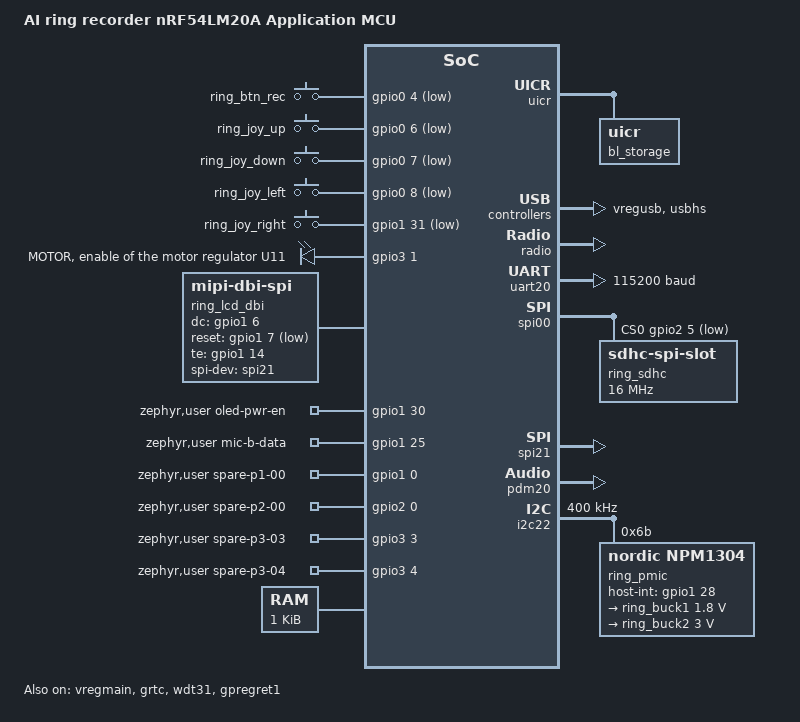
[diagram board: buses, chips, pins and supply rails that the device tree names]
/*
 * The ring (software step 7): board description of the AI ring recorder, application core (cpuapp) of its nRF54LM20A.
 *
 * Source of every pin: design/ecad/ring/netlist.csv (rows of U1, the main chip), which already holds the pin changes
 * of design/ecad/ring-route-f/pin-changes.md (LCD_TE on P1.14 ball F4, OLED_PWR_EN on P1.30 ball F9; balls F8, D6,
 * E9 with no net). Peripheral instances: design/firmware.md, peripheral table (lines 72 to 89). Power chip settings:
 * design/firmware.md 8.1. Memory layout: design/firmware.md 9.2. tools/check_ring_pins.py compares the built
 * devicetree (zephyr.dts) with the netlist; firmware/docs/board-notes.md lists every U1 signal and its node.
 *
 * NOT PROVEN ON HARDWARE: it compiles (tools/build_all.sh, stage ring); no ring has run it.
 */

/dts-v1/;

#include <nordic/nrf54lm20a_cpuapp.dtsi>
#include <zephyr/dt-bindings/input/input-event-codes.h>
#include <zephyr/dt-bindings/regulator/npm13xx.h>
#include <zephyr/dt-bindings/i2c/i2c.h>
#include "ringrec_nrf54lm20a_cpuapp-pinctrl.dtsi"

/ {
	compatible = "ring,ringrec-nrf54lm20a-cpuapp";
	model = "AI ring recorder nRF54LM20A Application MCU";

	chosen {
		zephyr,console = &uart20;
		zephyr,shell-uart = &uart20;
		zephyr,flash-controller = &rram_controller;
		zephyr,flash = &cpuapp_rram;
		zephyr,code-partition = &slot0_partition;
		zephyr,sram = &cpuapp_sram;
	};

	aliases {
		/* names the real driver files look for (firmware/docs/recorder-notes.md section 6) */
		ring-motor = &ring_motor;            /* modules/ring_motor/src/rmo_hw_real.c */
		ring-vdd-mic = &ring_ldsw_mic;       /* modules/ring_power/src/rpw_hw_real.c, load switch 1 */
		ring-vdd-sd = &ring_ldsw_sd;         /* modules/ring_power/src/rpw_hw_real.c, load switch 2 */
		crashram = &ring_crashram;           /* modules/ring_sys/src/rsy_hw_real.c, crash record */
		gpregret1 = &gpregret1;              /* modules/ring_sys/src/rsy_hw_real.c */
		watchdog0 = &wdt31;
	};

	/* The joystick (design/firmware.md 2.2): five switches to ground, the chip's pull-up, 20 ms debounce (FW l.237).
	 * No joystick driver exists yet (app/src/main.c: "the driver calls rglue_input()"), so these nodes are read by
	 * nothing; they hold the pins. */
	ring_joystick: joystick {
		compatible = "gpio-keys";
		debounce-interval-ms = <20>;

		ring_btn_rec: btn_rec {
			gpios = <&gpio0 4 (GPIO_PULL_UP | GPIO_ACTIVE_LOW)>;      /* BTN_REC, SW2 centre */
			zephyr,code = <INPUT_KEY_ENTER>;
		};

		ring_joy_up: joy_up {
			gpios = <&gpio0 6 (GPIO_PULL_UP | GPIO_ACTIVE_LOW)>;      /* JOY_UP, SW1 */
			zephyr,code = <INPUT_KEY_UP>;
		};

		ring_joy_down: joy_down {
			gpios = <&gpio0 7 (GPIO_PULL_UP | GPIO_ACTIVE_LOW)>;      /* JOY_DOWN, SW3 */
			zephyr,code = <INPUT_KEY_DOWN>;
		};

		ring_joy_left: joy_left {
			gpios = <&gpio0 8 (GPIO_PULL_UP | GPIO_ACTIVE_LOW)>;      /* JOY_LEFT, SW4 toward the hand */
			zephyr,code = <INPUT_KEY_LEFT>;
		};

		ring_joy_right: joy_right {
			gpios = <&gpio1 31 (GPIO_PULL_UP | GPIO_ACTIVE_LOW)>;     /* JOY_RIGHT, SW5 toward the fingertip */
			zephyr,code = <INPUT_KEY_RIGHT>;
		};
	};

	/* MOTOR: high enables the motor regulator U11 through R61 (net MOT_EN); a plain level, no PWM (FW 3.1) */
	ring_outputs: outputs {
		compatible = "gpio-leds";

		ring_motor: motor {
			gpios = <&gpio3 1 GPIO_ACTIVE_HIGH>;                       /* MOTOR */
			label = "MOTOR, enable of the motor regulator U11";
		};
	};

	/* The screen's bus and control pins (design/firmware.md 3.3, peripheral table). No panel driver exists: the
	 * application's overlay keeps the memory display as the screen's stand-in (zephyr,display). A panel driver adds
	 * its node as a child of this MIPI DBI node. */
	ring_lcd_dbi: lcd-dbi {
		compatible = "zephyr,mipi-dbi-spi";
		spi-dev = <&spi21>;
		dc-gpios = <&gpio1 6 GPIO_ACTIVE_HIGH>;                         /* LCD_DCX (RS: high = data) */
		reset-gpios = <&gpio1 7 GPIO_ACTIVE_LOW>;                       /* LCD_RST (RESX) */
		te-gpios = <&gpio1 14 GPIO_ACTIVE_HIGH>;                        /* LCD_TE (input, rising edge) */
		write-only;
		#address-cells = <1>;
		#size-cells = <0>;
	};

	/* Pins with no driver: the screen supply enable, and the pins the firmware never configures (test pads).
	 * They are listed so the devicetree holds every signal of U1 (tools/check_ring_pins.py). */
	zephyr,user {
		oled-pwr-en-gpios = <&gpio1 30 GPIO_ACTIVE_HIGH>;              /* OLED_PWR_EN: U4 AVDDEN (screen supply) */
		mic-b-data-gpios = <&gpio1 25 0>;                              /* MIC_B_DATA: test pad, unused (FW l.77) */
		spare-p1-00-gpios = <&gpio1 0 0>;                              /* SPARE_P1_00: test pad TP6 */
		spare-p2-00-gpios = <&gpio2 0 0>;                              /* SPARE_P2_00: test pad TP12 */
		spare-p3-03-gpios = <&gpio3 3 0>;                              /* SPARE_P3_03: test pad TP14 */
		spare-p3-04-gpios = <&gpio3 4 0>;                              /* SPARE_P3_04: test pad TP15 */
	};

	/* Crash record (design/firmware.md 4.6 "Crash record, retained RAM" 1,024 bytes; firmware/docs/sys-notes.md
	 * section 6): the top 1 KB of the application's RAM, taken out of cpuapp_sram below, kept over a warm reset. */
	ring_retained: memory@2007f800 {
		compatible = "zephyr,memory-region", "mmio-sram";
		reg = <0x2007f800 0x400>;
		ranges = <0x0 0x2007f800 0x400>;
		zephyr,memory-region = "RetainedMem";
		status = "okay";
		#address-cells = <1>;
		#size-cells = <1>;

		ring_crashram: retainedmem {
			compatible = "zephyr,retained-ram";
			status = "okay";
			ranges;
			#address-cells = <1>;
			#size-cells = <1>;
		};
	};
};

/* 511 KB of the secure build (the kit's cpuapp_sram) less the 1 KB crash record above */
&cpuapp_sram {
	reg = <0x20000000 DT_SIZE_K(510)>;
	ranges = <0x0 0x20000000 DT_SIZE_K(510)>;
	status = "okay";
};

/* The memory layout of design/firmware.md 9.2 (RRAM 2,036 KB): MCUboot 64 KB, slot 0 976 KB, slot 1 976 KB,
 * settings 20 KB. modules/ring_rhw/include/ring_rhw/rrec_spec.h holds the same addresses (RREC_FLASH_*). */
&cpuapp_rram {
	partitions {
		ranges;
		#address-cells = <1>;
		#size-cells = <1>;

		boot_partition: partition@0 {
			compatible = "zephyr,mapped-partition";
			label = "mcuboot";
			reg = <0x0 DT_SIZE_K(64)>;
		};

		slot0_partition: partition@10000 {
			compatible = "zephyr,mapped-partition";
			label = "image-0";
			reg = <0x10000 DT_SIZE_K(976)>;
		};

		slot1_partition: partition@104000 {
			compatible = "zephyr,mapped-partition";
			label = "image-1";
			reg = <0x104000 DT_SIZE_K(976)>;
		};

		storage_partition: partition@1f8000 {
			compatible = "zephyr,mapped-partition";
			label = "storage";
			reg = <0x1f8000 DT_SIZE_K(20)>;
		};
	};
};

&uicr {
	bl_storage: uicr@500 {
		reg = <0x500 0x460>;
	};
};

/* The 32 MHz crystal X1 (Kyocera CX2016DB, 8 pF) and the 32.768 kHz crystal X2 (TXC 9HT11, 9 pF), no load
 * capacitors on the board (netlist: XC1, XC2, XL1, XL2 reach only X1 and X2), so the chip's internal ones
 * (design/architecture.md lines 53, 54). */
&hfxo {
	load-capacitors = "internal";
	load-capacitance-femtofarad = <8000>;
};

&lfxo {
	load-capacitors = "internal";
	load-capacitance-femtofarad = <9000>;
};

&hfpll {
	clock-frequency = <DT_FREQ_M(128)>;
};

/* L1 (4.7 uH) on DCC: the chip's DC/DC converter */
&vregmain {
	status = "okay";
	regulator-initial-mode = <NRF5X_REG_MODE_DCDC>;
};

&vregusb {
	status = "okay";
};

&grtc {
	owned-channels = <0 1 2 3 4 5 6 7 8 9 10 11>;
	/* as the kit: channels 7 to 11 for zero latency interrupts, 3 and 4 for the FLPR core (not used) */
	child-owned-channels = <3 4 7 8 9 10 11>;
	status = "okay";
};

&clock {
	status = "okay";
};

&radio {
	status = "okay";
};

&gpio0 {
	status = "okay";
};

&gpio1 {
	status = "okay";
};

&gpio2 {
	status = "okay";
};

&gpio3 {
	status = "okay";
};

&gpiote20 {
	status = "okay";
};

&gpiote30 {
	status = "okay";
};

/* debug log, send only (design/firmware.md: uart20, DBG_TX; the former DBG_RX pin has no net) */
&uart20 {
	status = "okay";
	current-speed = <115200>;
	disable-rx;
	pinctrl-0 = <&uart20_default>;
	pinctrl-1 = <&uart20_sleep>;
	pinctrl-names = "default", "sleep";
};

/* USB through the four pads (design/firmware.md 6.1); the transfer part names zephyr_udc0 */
zephyr_udc0: &usbhs {
	status = "okay";
};

/* The SD NAND card over SPI (design/firmware.md 5.1): 16 MHz, disk "SD" */
&spi00 {
	status = "okay";
	/* not initialised at boot (fix round 2, S7R-01): the storage part's real file initialises it with device_init()
	 * at the card's first power-on, so SD_CS is never driven while VDD_SD is off before that */
	zephyr,deferred-init;
	cs-gpios = <&gpio2 5 GPIO_ACTIVE_LOW>;                                  /* SD_CS */
	pinctrl-0 = <&spi00_default>;
	pinctrl-1 = <&spi00_sleep>;
	pinctrl-names = "default", "sleep";

	ring_sdhc: sdhc@0 {
		compatible = "zephyr,sdhc-spi-slot";
		reg = <0>;
		spi-max-frequency = <16000000>;
		status = "okay";
		zephyr,deferred-init;

		ring_sd: mmc {
			compatible = "zephyr,sdmmc-disk";
			disk-name = "SD";
			status = "okay";
			zephyr,deferred-init;
		};
	};
};

/* The screen's bus (design/firmware.md: spi21, at most 8 Mbit/s); its chip select LCD_CS */
&spi21 {
	status = "okay";
	cs-gpios = <&gpio1 5 GPIO_ACTIVE_LOW>;                                  /* LCD_CS */
	pinctrl-0 = <&spi21_default>;
	pinctrl-1 = <&spi21_sleep>;
	pinctrl-names = "default", "sleep";
};

/* The microphones: one PDM instance, two channels (design/firmware.md 4.1): PCLK32M, 8 blocks */
&pdm20 {
	status = "okay";
	pinctrl-0 = <&pdm20_default>;
	pinctrl-1 = <&pdm20_sleep>;
	pinctrl-names = "default", "sleep";
	clock-source = "PCLK32M";
	queue-size = <8>;
};

&wdt31 {
	status = "okay";
};

&gpregret1 {
	status = "okay";
};

/* The power chip nPM1304 (U2) on i2c22 at 400 kHz, address 0x6B (design/firmware.md 8.1) */
&i2c22 {
	status = "okay";
	clock-frequency = <I2C_BITRATE_FAST>;
	pinctrl-0 = <&i2c22_default>;
	pinctrl-1 = <&i2c22_sleep>;
	pinctrl-names = "default", "sleep";

	ring_pmic: pmic@6b {
		compatible = "nordic,npm1304";
		reg = <0x6b>;
		host-int-gpios = <&gpio1 28 GPIO_ACTIVE_HIGH>;                  /* PMIC_INT, from the chip's GPIO0 */
		pmic-int-pin = <0>;
		ship-to-active-time-ms = <96>;

		ring_pmic_regulators: regulators {
			compatible = "nordic,npm1304-regulator";

			/* VDD_1V8: 1.8 V, set in hardware by VSET1 (47 kilo-ohm) */
			ring_buck1: BUCK1 {
				regulator-min-microvolt = <1800000>;
				regulator-max-microvolt = <1800000>;
				regulator-init-microvolt = <1800000>;
				regulator-boot-on;
				regulator-always-on;
				regulator-initial-mode = <NPM13XX_BUCK_MODE_AUTO>;
			};

			/* VDD_3V0: 3.0 V, set in hardware by VSET2 (150 kilo-ohm) */
			ring_buck2: BUCK2 {
				regulator-min-microvolt = <3000000>;
				regulator-max-microvolt = <3000000>;
				regulator-init-microvolt = <3000000>;
				regulator-boot-on;
				regulator-always-on;
				regulator-initial-mode = <NPM13XX_BUCK_MODE_AUTO>;
			};

			/* load switch 1: VDD_MIC (LSOUT1, ball A4); only rec_mics_on() switches it on (FW l.342, l.457) */
			ring_ldsw_mic: LDO1 {
				regulator-initial-mode = <NPM13XX_LDSW_MODE_LDSW>;
				soft-start-microamp = <25000>;
				active-discharge;
				regulator-boot-off;
			};

			/* load switch 2: VDD_SD (LSOUT2, ball A5) */
			ring_ldsw_sd: LDO2 {
				regulator-initial-mode = <NPM13XX_LDSW_MODE_LDSW>;
				soft-start-microamp = <50000>;
				active-discharge;
				regulator-boot-off;
			};
		};

		ring_charger: charger {
			compatible = "nordic,npm1304-charger";
			term-microvolt = <4350000>;
			term-warm-microvolt = <4100000>;
			current-microamp = <15000>;                             /* CHARGE_CURRENT (FW l.878) */
			term-current-percent = <10>;
			trickle-microvolt = <2900000>;
			vbus-limit-microamp = <500000>;
			thermistor-ohms = <10000>;
			thermistor-beta = <3380>;
			thermistor-cold-millidegrees = <0>;
			thermistor-cool-millidegrees = <10000>;
			thermistor-warm-millidegrees = <40000>;
			thermistor-hot-millidegrees = <45000>;
			dietemp-stop-millidegrees = <90000>;
			dietemp-resume-millidegrees = <80000>;
			charging-enable;
		};
	};
};
